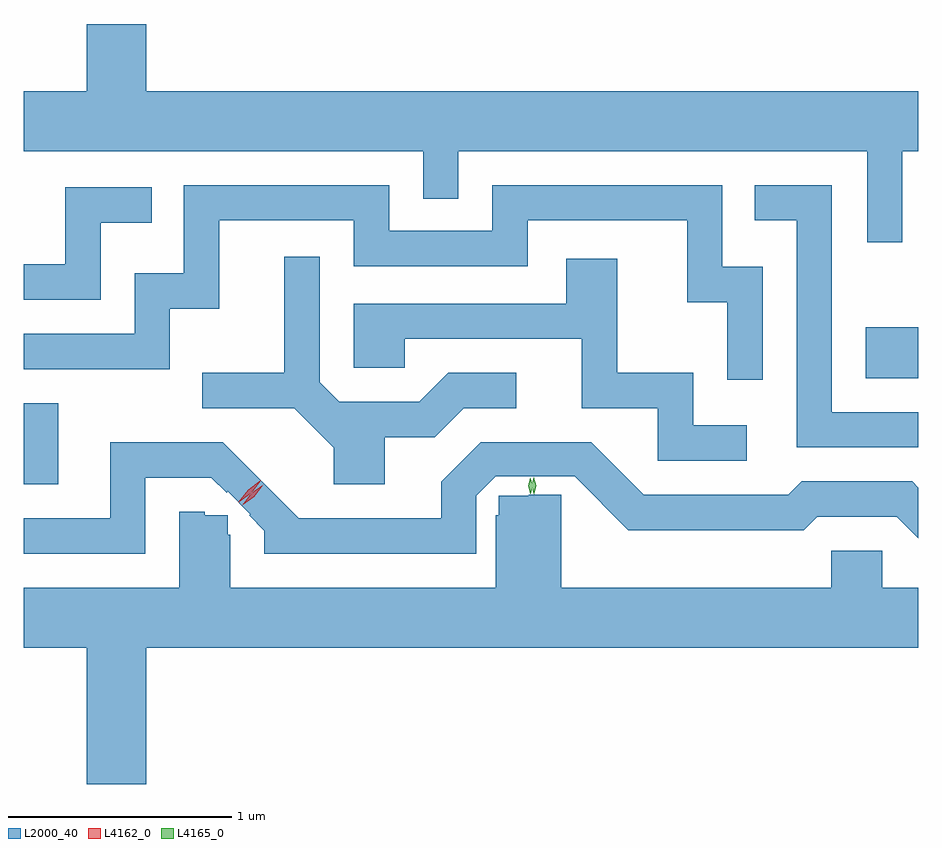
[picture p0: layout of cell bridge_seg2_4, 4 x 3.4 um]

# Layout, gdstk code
import gdstk
lib = gdstk.Library(unit=1e-6, precision=1e-09)
def R(c, l, rs):  # rectangles x0, y0, x1, y1
    for r in rs: c.add(gdstk.rectangle(r[:2], r[2:], *l))
def P(c, l, *ps):  # polygons
    for p in ps: c.add(gdstk.Polygon(p, *l))
L2000_40 = (2000, 40)
L4162_0 = (4162, 0)
L4165_0 = (4165, 0)

bridge_seg2_4 = lib.new_cell('bridge_seg2_4')
R(bridge_seg2_4, L2000_40, [(1893.115,1013.526,1893.269,1013.889), (1896.881,1014.001,1897.115,1014.229)])
P(bridge_seg2_4, L2000_40, [(1897.044,1015.016),(1897.115,1015.016),(1897.115,1015.284),(1893.664,1015.284),(1893.664,1015.584),(1893.396,1015.584),(1893.396,1015.284),(1893.115,1015.284),(1893.115,1015.016),(1894.901,1015.016),(1894.901,1014.803),(1895.059,1014.803),(1895.059,1015.016),(1896.886,1015.016),(1896.886,1014.608),(1897.044,1014.608)],
  [(1896.419,1014.499),(1896.239,1014.499),(1896.239,1014.864),(1895.211,1014.864),(1895.211,1014.659),(1894.749,1014.659),(1894.749,1014.864),(1893.831,1014.864),(1893.831,1014.469),(1893.611,1014.469),(1893.611,1014.199),(1893.115,1014.199),(1893.115,1014.041),(1893.769,1014.041),(1893.769,1014.311),(1893.989,1014.311),(1893.989,1014.706),(1894.591,1014.706),(1894.591,1014.501),(1895.369,1014.501),(1895.369,1014.706),(1896.081,1014.706),(1896.081,1014.341),(1896.261,1014.341),(1896.261,1013.993),(1896.419,1013.993)],
  [(1897.115,1013.849),(1896.729,1013.849),(1896.729,1014.864),(1896.383,1014.864),(1896.383,1014.706),(1896.571,1014.706),(1896.571,1013.691),(1897.115,1013.691)],
  [(1893.459,1014.696),(1893.688,1014.696),(1893.688,1014.854),(1893.301,1014.854),(1893.301,1014.509),(1893.115,1014.509),(1893.115,1014.351),(1893.459,1014.351)],
  [(1894.729,1013.736),(1894.952,1013.736),(1895.082,1013.866),(1895.318,1013.866),(1895.318,1014.024),(1895.014,1014.024),(1894.884,1013.894),(1894.527,1013.894),(1894.439,1013.982),(1894.439,1014.543),(1894.281,1014.543),(1894.281,1014.024),(1893.913,1014.024),(1893.913,1013.866),(1894.324,1013.866),(1894.501,1013.689),(1894.501,1013.526),(1894.729,1013.526)],
  [(1896.348,1013.789),(1896.109,1013.789),(1896.109,1014.024),(1895.769,1014.024),(1895.769,1014.534),(1895.541,1014.534),(1895.541,1014.334),(1894.591,1014.334),(1894.591,1014.046),(1894.819,1014.046),(1894.819,1014.176),(1895.611,1014.176),(1895.611,1013.866),(1895.951,1013.866),(1895.951,1013.631),(1896.348,1013.631)],
  [(1893.659,1013.556),(1893.954,1013.556),(1894.022,1013.488),(1894.028,1013.494),(1894.129,1013.393),(1894.123,1013.387),(1894.191,1013.319),(1894.191,1013.216),(1895.139,1013.216),(1895.139,1013.474),(1895.226,1013.561),(1895.579,1013.561),(1895.819,1013.321),(1896.602,1013.321),(1896.662,1013.381),(1897.019,1013.381),(1897.115,1013.285),(1897.115,1013.511),(1897.087,1013.539),(1896.594,1013.539),(1896.534,1013.479),(1895.887,1013.479),(1895.652,1013.714),(1895.159,1013.714),(1894.981,1013.537),(1894.981,1013.374),(1894.345,1013.374),(1894.005,1013.714),(1893.501,1013.714),(1893.501,1013.374),(1893.115,1013.374),(1893.115,1013.216),(1893.659,1013.216)],
  [(1893.664,1012.796),(1897.115,1012.796),(1897.115,1013.064),(1896.954,1013.064),(1896.954,1013.229),(1896.726,1013.229),(1896.726,1013.064),(1895.519,1013.064),(1895.519,1013.387),(1895.518,1013.387),(1895.518,1013.48),(1895.373,1013.48),(1895.373,1013.475),(1895.24,1013.475),(1895.24,1013.387),(1895.226,1013.387),(1895.226,1013.064),(1894.039,1013.064),(1894.039,1013.3),(1894.028,1013.3),(1894.028,1013.388),(1893.925,1013.388),(1893.925,1013.404),(1893.811,1013.404),(1893.811,1013.064),(1893.115,1013.064),(1893.115,1012.796),(1893.396,1012.796),(1893.396,1012.186),(1893.664,1012.186)])
P(bridge_seg2_4, L4162_0, [(1894.075,1013.445),(1894.075,1013.446),(1894.118,1013.501),(1894.174,1013.543),(1894.174,1013.543),(1894.174,1013.542),(1894.132,1013.487),(1894.076,1013.445)],
  [(1894.092,1013.432),(1894.092,1013.433),(1894.133,1013.486),(1894.187,1013.525),(1894.187,1013.525),(1894.187,1013.524),(1894.146,1013.471),(1894.092,1013.432)])
P(bridge_seg2_4, L4165_0, [(1895.397,1013.482),(1895.396,1013.483),(1895.386,1013.52),(1895.395,1013.557),(1895.395,1013.558),(1895.396,1013.557),(1895.406,1013.52),(1895.397,1013.483)],
  [(1895.381,1013.484),(1895.381,1013.484),(1895.371,1013.519),(1895.379,1013.555),(1895.38,1013.555),(1895.38,1013.555),(1895.39,1013.52),(1895.382,1013.484)])

lib.write_gds('bridge_seg2_4.gds')
